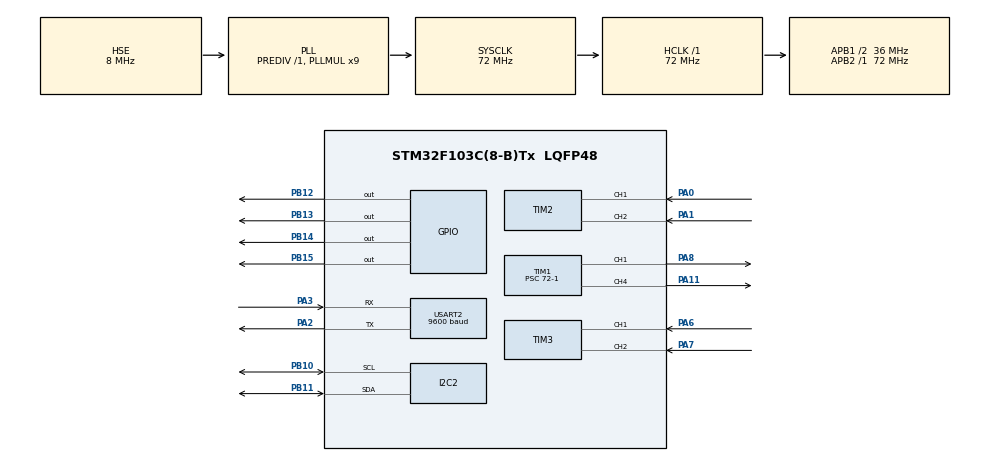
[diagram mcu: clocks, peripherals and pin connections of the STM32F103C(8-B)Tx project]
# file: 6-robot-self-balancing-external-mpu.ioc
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I2C2.I2C_Mode=I2C_Fast
Mcu.Family=STM32F1
Mcu.Name=STM32F103C(8-B)Tx
Mcu.Package=LQFP48
NVIC.PriorityGroup=NVIC_PRIORITYGROUP_4
NVIC.TIM1_UP_IRQn=true\:0\:0\:false\:false\:true\:true\:true\:true
NVIC.TIM4_IRQn=true\:1\:0\:true\:false\:true\:true\:true\:true
NVIC.USART2_IRQn=true\:2\:0\:true\:false\:true\:true\:true\:true
PA0-WKUP.Signal=S_TIM2_CH1_ETR
PA1.Signal=S_TIM2_CH2
PA11.Signal=S_TIM1_CH4
PA2.Mode=Asynchronous
PA2.Signal=USART2_TX
PA3.Mode=Asynchronous
PA3.Signal=USART2_RX
PA6.Signal=S_TIM3_CH1
PA7.Signal=S_TIM3_CH2
PA8.Signal=S_TIM1_CH1
PB10.Mode=I2C
PB10.Signal=I2C2_SCL
PB11.Mode=I2C
PB11.Signal=I2C2_SDA
PB12.GPIO_Speed=GPIO_SPEED_FREQ_HIGH
PB12.Signal=GPIO_Output
PB13.GPIO_Speed=GPIO_SPEED_FREQ_HIGH
PB13.Signal=GPIO_Output
PB14.GPIO_Speed=GPIO_SPEED_FREQ_HIGH
PB14.Signal=GPIO_Output
PB15.GPIO_Speed=GPIO_SPEED_FREQ_HIGH
PB15.Signal=GPIO_Output
PD0-OSC_IN.Mode=HSE-External-Oscillator
PD0-OSC_IN.Signal=RCC_OSC_IN
PD1-OSC_OUT.Mode=HSE-External-Oscillator
PD1-OSC_OUT.Signal=RCC_OSC_OUT
ProjectManager.HeapSize=0x200
ProjectManager.StackSize=0x400
ProjectManager.TargetToolchain=STM32CubeIDE
RCC.AHBFreq_Value=72000000
RCC.APB1CLKDivider=RCC_HCLK_DIV2
RCC.APB1Freq_Value=36000000
RCC.APB1TimFreq_Value=72000000
RCC.APB2Freq_Value=72000000
RCC.APB2TimFreq_Value=72000000
RCC.HCLKFreq_Value=72000000
RCC.PLLMUL=RCC_PLL_MUL9
RCC.PLLSourceVirtual=RCC_PLLSOURCE_HSE
RCC.SYSCLKFreq_VALUE=72000000
RCC.SYSCLKSource=RCC_SYSCLKSOURCE_PLLCLK
RCC.USBFreq_Value=72000000
SH.S_TIM1_CH1.0=TIM1_CH1,PWM Generation1 CH1
SH.S_TIM1_CH4.0=TIM1_CH4,PWM Generation4 CH4
SH.S_TIM2_CH1_ETR.0=TIM2_CH1,Encoder_Interface
SH.S_TIM2_CH2.0=TIM2_CH2,Encoder_Interface
SH.S_TIM3_CH1.0=TIM3_CH1,Encoder_Interface
SH.S_TIM3_CH2.0=TIM3_CH2,Encoder_Interface
TIM1.Channel-PWM\ Generation1\ CH1=TIM_CHANNEL_1
TIM1.Channel-PWM\ Generation4\ CH4=TIM_CHANNEL_4
TIM1.Period=999
TIM1.Prescaler=72-1
TIM2.IC1Filter=4
TIM3.IC1Filter=4
TIM3.IC2Filter=4
TIM4.AutoReloadPreload=TIM_AUTORELOAD_PRELOAD_ENABLE
TIM4.Period=500-1
TIM4.Prescaler=720-1
USART2.BaudRate=9600
USART2.VirtualMode=VM_ASYNC
VP_SYS_VS_ND.Mode=No_Debug
VP_TIM1_VS_ClockSourceINT.Mode=Internal
VP_TIM4_VS_ClockSourceINT.Mode=Internal
board=custom

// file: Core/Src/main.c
/* USER CODE BEGIN Header */
/**
  ******************************************************************************
  * @file           : main.c
  * @brief          : Main program body
  ******************************************************************************
  * @attention
  *
  * Copyright (c) 2026 STMicroelectronics.
  * All rights reserved.
  *
  * This software is licensed under terms that can be found in the LICENSE file
  * in the root directory of this software component.
  * If no LICENSE file comes with this software, it is provided AS-IS.
  *
  ******************************************************************************
  */
/* USER CODE END Header */
#include "main.h"

/* USER CODE BEGIN Includes */
#include "debug.h"
#include "mpu6050.h"
#include "pid.h"
#include "motor.h"
#include "encoder.h"
#include "ring_buffer.h"
#include "bt_command.h"
#include <stdbool.h>
#include <math.h>
#include <stdio.h>
/* USER CODE END Includes */

I2C_HandleTypeDef hi2c2;

TIM_HandleTypeDef htim1;
TIM_HandleTypeDef htim2;
TIM_HandleTypeDef htim3;
TIM_HandleTypeDef htim4;

UART_HandleTypeDef huart2;

/* USER CODE BEGIN PV */
/* ── Shared application state ───────────────────────────────────────── */
static MPU6050_Data_t g_imu          = {0};
static PID_t          g_balance_pid;
static float          g_angle_setpoint = 0.0f;  // tune via BT: "A1.5\n"
static RingBuffer_t   g_bt_rb;
static volatile float g_bt_speed_bias = 0.0f;

/* Last PID output – written by TIM4 ISR, read by main loop for debug */
static volatile float g_pid_output = 0.0f;
/* Single-byte DMA-free UART RX buffer (re-armed in callback) */
static uint8_t s_uart_rx_byte;

/* USER CODE END PV */

void SystemClock_Config(void);
static void MX_GPIO_Init(void);
static void MX_TIM1_Init(void);
static void MX_TIM4_Init(void);
static void MX_USART2_UART_Init(void);
static void MX_TIM2_Init(void);
static void MX_TIM3_Init(void);
static void MX_I2C2_Init(void);
/* USER CODE BEGIN PFP */
static void apply_bt_command(const BT_Command_t *cmd);
/* USER CODE END PFP */

int main(void)
{

  /* MCU Configuration--------------------------------------------------------*/

  /* Reset of all peripherals, Initializes the Flash interface and the Systick. */
  HAL_Init();

  /* Configure the system clock */
  SystemClock_Config();

  /* Initialize all configured peripherals */
  MX_GPIO_Init();
  MX_TIM1_Init();
  MX_TIM4_Init();
  MX_USART2_UART_Init();
  MX_TIM2_Init();
  MX_TIM3_Init();
  MX_I2C2_Init();
  /* USER CODE BEGIN 2 */
  rb_init(&g_bt_rb);

  Debug_Init(&huart2);

   /* Wait until MPU6050 responds on I2C */
   while (!MPU6050_Init(&hi2c2)) {
       HAL_Delay(100);
   }
   Debug_Print("MPU6050 OK\r\n");

   /* Calibrate — robot must be held STILL and UPRIGHT for ~1 second.
      This zeroes the gyro bias and angle offset so that true upright
      reads as exactly 0.0 degrees, regardless of MPU mounting angle.
      After this, A setpoint of 0.0 means perfectly balanced.         */
//   Debug_Print("Calibrating — hold robot upright and still...\r\n");
//   MPU6050_Calibrate(&hi2c2, &g_imu);
//   Debug_Print("Calibration done. Starting balance loop.\r\n");

   /* Balance PID – start conservative, tune via Bluetooth*/
      PID_Init(&g_balance_pid,
            /*Kp=*/40.0f,
            /*Ki=*/0.0f,
            /*Kd=*/6.0f,
            /*integral_limit=*/200.0f,
            /*output_limit=*/(float)MOTOR_PWM_MAX);

   Encoder_Start();   // starts TIM2 + TIM3 in encoder mode

   /* Start PWM outputs on TIM1 CH1 (PA8) and CH4 (PA11) */
   HAL_TIM_PWM_Start(&htim1, MOTOR_B_PWM_CH);   // CH1 → PA8  = PWMB
   HAL_TIM_PWM_Start(&htim1, MOTOR_A_PWM_CH);   // CH4 → PA11 = PWMA
   Motor_Stop();

   /* Arm USART2 RX interrupt */
   HAL_UART_Receive_IT(&huart2, &s_uart_rx_byte, 1);

   /* Start 200 Hz control-loop timer (TIM4) */
   HAL_TIM_Base_Start_IT(&htim4);
  /* USER CODE END 2 */

  /* Infinite loop */
  while (1)
  {

    /* USER CODE BEGIN 3 */
	  	  	  /* 1. Parse any complete BT command from ring buffer */
	          BT_Command_t cmd;
	          if (BT_Parse(&g_bt_rb, &cmd)) {
	              apply_bt_command(&cmd);
	          }

	          /* 2. Fall / over-tilt detection: stop motors to protect hardware */
	          if (fabsf(g_imu.angle) > 45.0f) {
	              Motor_Stop();
	              PID_Reset(&g_balance_pid);
	              Debug_Print("FALL DETECTED...");
	          }

	          /* 3. Optional telemetry – uncomment to stream angle over BT
	          static uint32_t last_tx = 0;
	          if (HAL_GetTick() - last_tx >= 100) {
	              last_tx = HAL_GetTick();
	              char buf[48];
	              int n = snprintf(buf, sizeof(buf), "A:%.2f L:%ld R:%ld\r\n",
	                               g_imu.angle, enc_left.count, enc_right.count);
	              HAL_UART_Transmit(&huart2, (uint8_t *)buf, n, 10);
	          }
	          */

	          /* 3. Stream debug data over Bluetooth every DEBUG_INTERVAL_MS */
	                  Debug_Update(g_imu.angle,
	                               g_imu.gyro_rate,
	                               g_imu.accel_angle,
	                               g_pid_output,
	                               enc_left.delta,
	                               enc_right.delta,
	                               g_angle_setpoint,
	                               g_balance_pid.Kp,
	                               g_balance_pid.Ki,
	                               g_balance_pid.Kd);
	/* 4. Sleep until next interrupt */
	__WFI();
  }
  /* USER CODE END 3 */
}

void SystemClock_Config(void)
{
  RCC_OscInitTypeDef RCC_OscInitStruct = {0};
  RCC_ClkInitTypeDef RCC_ClkInitStruct = {0};

  /** Initializes the RCC Oscillators according to the specified parameters
  * in the RCC_OscInitTypeDef structure.
  */
  RCC_OscInitStruct.OscillatorType = RCC_OSCILLATORTYPE_HSE;
  RCC_OscInitStruct.HSEState = RCC_HSE_ON;
  RCC_OscInitStruct.HSEPredivValue = RCC_HSE_PREDIV_DIV1;
  RCC_OscInitStruct.HSIState = RCC_HSI_ON;
  RCC_OscInitStruct.PLL.PLLState = RCC_PLL_ON;
  RCC_OscInitStruct.PLL.PLLSource = RCC_PLLSOURCE_HSE;
  RCC_OscInitStruct.PLL.PLLMUL = RCC_PLL_MUL9;
  if (HAL_RCC_OscConfig(&RCC_OscInitStruct) != HAL_OK)
  {
    Error_Handler();
  }

  /** Initializes the CPU, AHB and APB buses clocks
  */
  RCC_ClkInitStruct.ClockType = RCC_CLOCKTYPE_HCLK|RCC_CLOCKTYPE_SYSCLK
                              |RCC_CLOCKTYPE_PCLK1|RCC_CLOCKTYPE_PCLK2;
  RCC_ClkInitStruct.SYSCLKSource = RCC_SYSCLKSOURCE_PLLCLK;
  RCC_ClkInitStruct.AHBCLKDivider = RCC_SYSCLK_DIV1;
  RCC_ClkInitStruct.APB1CLKDivider = RCC_HCLK_DIV2;
  RCC_ClkInitStruct.APB2CLKDivider = RCC_HCLK_DIV1;

  if (HAL_RCC_ClockConfig(&RCC_ClkInitStruct, FLASH_LATENCY_2) != HAL_OK)
  {
    Error_Handler();
  }
}

static void MX_I2C2_Init(void)
{

  hi2c2.Instance = I2C2;
  hi2c2.Init.ClockSpeed = 400000;
  hi2c2.Init.DutyCycle = I2C_DUTYCYCLE_2;
  hi2c2.Init.OwnAddress1 = 0;
  hi2c2.Init.AddressingMode = I2C_ADDRESSINGMODE_7BIT;
  hi2c2.Init.DualAddressMode = I2C_DUALADDRESS_DISABLE;
  hi2c2.Init.OwnAddress2 = 0;
  hi2c2.Init.GeneralCallMode = I2C_GENERALCALL_DISABLE;
  hi2c2.Init.NoStretchMode = I2C_NOSTRETCH_DISABLE;
  if (HAL_I2C_Init(&hi2c2) != HAL_OK)
  {
    Error_Handler();
  }

}

static void MX_TIM1_Init(void)
{

  TIM_ClockConfigTypeDef sClockSourceConfig = {0};
  TIM_MasterConfigTypeDef sMasterConfig = {0};
  TIM_OC_InitTypeDef sConfigOC = {0};
  TIM_BreakDeadTimeConfigTypeDef sBreakDeadTimeConfig = {0};

  htim1.Instance = TIM1;
  htim1.Init.Prescaler = 72-1;
  htim1.Init.CounterMode = TIM_COUNTERMODE_UP;
  htim1.Init.Period = 999;
  htim1.Init.ClockDivision = TIM_CLOCKDIVISION_DIV1;
  htim1.Init.RepetitionCounter = 0;
  htim1.Init.AutoReloadPreload = TIM_AUTORELOAD_PRELOAD_DISABLE;
  if (HAL_TIM_Base_Init(&htim1) != HAL_OK)
  {
    Error_Handler();
  }
  sClockSourceConfig.ClockSource = TIM_CLOCKSOURCE_INTERNAL;
  if (HAL_TIM_ConfigClockSource(&htim1, &sClockSourceConfig) != HAL_OK)
  {
    Error_Handler();
  }
  if (HAL_TIM_PWM_Init(&htim1) != HAL_OK)
  {
    Error_Handler();
  }
  sMasterConfig.MasterOutputTrigger = TIM_TRGO_RESET;
  sMasterConfig.MasterSlaveMode = TIM_MASTERSLAVEMODE_DISABLE;
  if (HAL_TIMEx_MasterConfigSynchronization(&htim1, &sMasterConfig) != HAL_OK)
  {
    Error_Handler();
  }
  sConfigOC.OCMode = TIM_OCMODE_PWM1;
  sConfigOC.Pulse = 0;
  sConfigOC.OCPolarity = TIM_OCPOLARITY_HIGH;
  sConfigOC.OCNPolarity = TIM_OCNPOLARITY_HIGH;
  sConfigOC.OCFastMode = TIM_OCFAST_DISABLE;
  sConfigOC.OCIdleState = TIM_OCIDLESTATE_RESET;
  sConfigOC.OCNIdleState = TIM_OCNIDLESTATE_RESET;
  if (HAL_TIM_PWM_ConfigChannel(&htim1, &sConfigOC, TIM_CHANNEL_1) != HAL_OK)
  {
    Error_Handler();
  }
  if (HAL_TIM_PWM_ConfigChannel(&htim1, &sConfigOC, TIM_CHANNEL_4) != HAL_OK)
  {
    Error_Handler();
  }
  sBreakDeadTimeConfig.OffStateRunMode = TIM_OSSR_DISABLE;
  sBreakDeadTimeConfig.OffStateIDLEMode = TIM_OSSI_DISABLE;
  sBreakDeadTimeConfig.LockLevel = TIM_LOCKLEVEL_OFF;
  sBreakDeadTimeConfig.DeadTime = 0;
  sBreakDeadTimeConfig.BreakState = TIM_BREAK_DISABLE;
  sBreakDeadTimeConfig.BreakPolarity = TIM_BREAKPOLARITY_HIGH;
  sBreakDeadTimeConfig.AutomaticOutput = TIM_AUTOMATICOUTPUT_DISABLE;
  if (HAL_TIMEx_ConfigBreakDeadTime(&htim1, &sBreakDeadTimeConfig) != HAL_OK)
  {
    Error_Handler();
  }
  /* USER CODE BEGIN TIM1_Init 2 */
  __HAL_TIM_MOE_ENABLE(&htim1);
  /* USER CODE END TIM1_Init 2 */
  HAL_TIM_MspPostInit(&htim1);

}

static void MX_TIM2_Init(void)
{

  TIM_Encoder_InitTypeDef sConfig = {0};
  TIM_MasterConfigTypeDef sMasterConfig = {0};

  htim2.Instance = TIM2;
  htim2.Init.Prescaler = 0;
  htim2.Init.CounterMode = TIM_COUNTERMODE_UP;
  htim2.Init.Period = 65535;
  htim2.Init.ClockDivision = TIM_CLOCKDIVISION_DIV1;
  htim2.Init.AutoReloadPreload = TIM_AUTORELOAD_PRELOAD_DISABLE;
  sConfig.EncoderMode = TIM_ENCODERMODE_TI1;
  sConfig.IC1Polarity = TIM_ICPOLARITY_RISING;
  sConfig.IC1Selection = TIM_ICSELECTION_DIRECTTI;
  sConfig.IC1Prescaler = TIM_ICPSC_DIV1;
  sConfig.IC1Filter = 4;
  sConfig.IC2Polarity = TIM_ICPOLARITY_RISING;
  sConfig.IC2Selection = TIM_ICSELECTION_DIRECTTI;
  sConfig.IC2Prescaler = TIM_ICPSC_DIV1;
  sConfig.IC2Filter = 0;
  if (HAL_TIM_Encoder_Init(&htim2, &sConfig) != HAL_OK)
  {
    Error_Handler();
  }
  sMasterConfig.MasterOutputTrigger = TIM_TRGO_RESET;
  sMasterConfig.MasterSlaveMode = TIM_MASTERSLAVEMODE_DISABLE;
  if (HAL_TIMEx_MasterConfigSynchronization(&htim2, &sMasterConfig) != HAL_OK)
  {
    Error_Handler();
  }

}

static void MX_TIM3_Init(void)
{

  TIM_Encoder_InitTypeDef sConfig = {0};
  TIM_MasterConfigTypeDef sMasterConfig = {0};

  htim3.Instance = TIM3;
  htim3.Init.Prescaler = 0;
  htim3.Init.CounterMode = TIM_COUNTERMODE_UP;
  htim3.Init.Period = 65535;
  htim3.Init.ClockDivision = TIM_CLOCKDIVISION_DIV1;
  htim3.Init.AutoReloadPreload = TIM_AUTORELOAD_PRELOAD_DISABLE;
  sConfig.EncoderMode = TIM_ENCODERMODE_TI1;
  sConfig.IC1Polarity = TIM_ICPOLARITY_RISING;
  sConfig.IC1Selection = TIM_ICSELECTION_DIRECTTI;
  sConfig.IC1Prescaler = TIM_ICPSC_DIV1;
  sConfig.IC1Filter = 4;
  sConfig.IC2Polarity = TIM_ICPOLARITY_RISING;
  sConfig.IC2Selection = TIM_ICSELECTION_DIRECTTI;
  sConfig.IC2Prescaler = TIM_ICPSC_DIV1;
  sConfig.IC2Filter = 4;
  if (HAL_TIM_Encoder_Init(&htim3, &sConfig) != HAL_OK)
  {
    Error_Handler();
  }
  sMasterConfig.MasterOutputTrigger = TIM_TRGO_RESET;
  sMasterConfig.MasterSlaveMode = TIM_MASTERSLAVEMODE_DISABLE;
  if (HAL_TIMEx_MasterConfigSynchronization(&htim3, &sMasterConfig) != HAL_OK)
  {
    Error_Handler();
  }

}

static void MX_TIM4_Init(void)
{

  TIM_ClockConfigTypeDef sClockSourceConfig = {0};
  TIM_MasterConfigTypeDef sMasterConfig = {0};

  htim4.Instance = TIM4;
  htim4.Init.Prescaler = 720-1;
  htim4.Init.CounterMode = TIM_COUNTERMODE_UP;
  htim4.Init.Period = 500-1;
  htim4.Init.ClockDivision = TIM_CLOCKDIVISION_DIV1;
  htim4.Init.AutoReloadPreload = TIM_AUTORELOAD_PRELOAD_ENABLE;
  if (HAL_TIM_Base_Init(&htim4) != HAL_OK)
  {
    Error_Handler();
  }
  sClockSourceConfig.ClockSource = TIM_CLOCKSOURCE_INTERNAL;
  if (HAL_TIM_ConfigClockSource(&htim4, &sClockSourceConfig) != HAL_OK)
  {
    Error_Handler();
  }
  sMasterConfig.MasterOutputTrigger = TIM_TRGO_RESET;
  sMasterConfig.MasterSlaveMode = TIM_MASTERSLAVEMODE_DISABLE;
  if (HAL_TIMEx_MasterConfigSynchronization(&htim4, &sMasterConfig) != HAL_OK)
  {
    Error_Handler();
  }

}

static void MX_USART2_UART_Init(void)
{

  huart2.Instance = USART2;
  huart2.Init.BaudRate = 9600;
  huart2.Init.WordLength = UART_WORDLENGTH_8B;
  huart2.Init.StopBits = UART_STOPBITS_1;
  huart2.Init.Parity = UART_PARITY_NONE;
  huart2.Init.Mode = UART_MODE_TX_RX;
  huart2.Init.HwFlowCtl = UART_HWCONTROL_NONE;
  huart2.Init.OverSampling = UART_OVERSAMPLING_16;
  if (HAL_UART_Init(&huart2) != HAL_OK)
  {
    Error_Handler();
  }

}

static void MX_GPIO_Init(void)
{
  GPIO_InitTypeDef GPIO_InitStruct = {0};

  /* GPIO Ports Clock Enable */
  __HAL_RCC_GPIOD_CLK_ENABLE();
  __HAL_RCC_GPIOA_CLK_ENABLE();
  __HAL_RCC_GPIOB_CLK_ENABLE();

  /*Configure GPIO pin Output Level */
  HAL_GPIO_WritePin(GPIOB, GPIO_PIN_12|GPIO_PIN_13|GPIO_PIN_14|GPIO_PIN_15, GPIO_PIN_RESET);

  /*Configure GPIO pins : PB12 PB13 PB14 PB15 */
  GPIO_InitStruct.Pin = GPIO_PIN_12|GPIO_PIN_13|GPIO_PIN_14|GPIO_PIN_15;
  GPIO_InitStruct.Mode = GPIO_MODE_OUTPUT_PP;
  GPIO_InitStruct.Pull = GPIO_NOPULL;
  GPIO_InitStruct.Speed = GPIO_SPEED_FREQ_HIGH;
  HAL_GPIO_Init(GPIOB, &GPIO_InitStruct);

}

/* USER CODE BEGIN 4 */
/* ═══════════════════════════════════════════════════════════════════════
   TIM4 PERIOD ELAPSED IRQ  –  200 Hz CONTROL LOOP  (every 5 ms)
   ═══════════════════════════════════════════════════════════════════════ */
void HAL_TIM_PeriodElapsedCallback(TIM_HandleTypeDef *htim)
{
    if (htim->Instance != TIM4) return;

    /* Step 1 – Snapshot encoder deltas (hardware counted, we just diff) */
    Encoder_Update();

    /* Step 2 – Read IMU and update complementary filter
                ~300 µs at 400 kHz I2C; well within the 5 ms budget       */
    MPU6050_Update(&hi2c2, &g_imu, CONTROL_LOOP_DT);

    /* Step 3 – Balance PID */
    float pid_out = PID_Compute(&g_balance_pid,
                                g_angle_setpoint,
                                g_imu.angle,
                                CONTROL_LOOP_DT);

    g_pid_output = pid_out;   // expose to main loop for debug

    /* Step 4 – Apply BT speed bias (forward/backward commands) */
    int32_t left_pwm  = (int32_t)(pid_out + g_bt_speed_bias);
    int32_t right_pwm = (int32_t)(pid_out + g_bt_speed_bias);

    /* Step 5 – Drive motors */
    Motor_Set(left_pwm, right_pwm);
}

/* ═══════════════════════════════════════════════════════════════════════
   USART2 RX COMPLETE IRQ  –  JDY-23 Bluetooth
   One byte at a time → ring buffer → parsed in main loop
   ═══════════════════════════════════════════════════════════════════════ */
void HAL_UART_RxCpltCallback(UART_HandleTypeDef *huart)
{
    if (huart->Instance != USART2) return;
    rb_push(&g_bt_rb, s_uart_rx_byte);
    HAL_UART_Receive_IT(&huart2, &s_uart_rx_byte, 1);  // re-arm
}

/* ═══════════════════════════════════════════════════════════════════════
   BT COMMAND APPLICATION  (main loop only, never from ISR)
   ═══════════════════════════════════════════════════════════════════════ */
static void apply_bt_command(const BT_Command_t *cmd)
{
    char buf[48];
    switch (cmd->type) {
        case BT_CMD_FORWARD:
            g_bt_speed_bias =  cmd->value;
            snprintf(buf, sizeof(buf), "CMD: Forward %.1f\r\n", cmd->value);
            Debug_Print(buf);
            break;
        case BT_CMD_BACKWARD:
            g_bt_speed_bias = -cmd->value;
            snprintf(buf, sizeof(buf), "CMD: Backward %.1f\r\n", cmd->value);
            Debug_Print(buf);
            break;
        case BT_CMD_STOP:
            g_bt_speed_bias = 0.0f;
            Debug_Print("CMD: Stop\r\n");
            break;
        case BT_CMD_SET_KP:
            g_balance_pid.Kp = cmd->value;
            snprintf(buf, sizeof(buf), "SET Kp=%.3f\r\n", cmd->value);
            Debug_Print(buf);
            break;
        case BT_CMD_SET_KI:
            g_balance_pid.Ki = cmd->value;
            PID_Reset(&g_balance_pid);
            snprintf(buf, sizeof(buf), "SET Ki=%.3f (integral reset)\r\n", cmd->value);
            Debug_Print(buf);
            break;
//        case BT_CMD_SET_DFILTER:
//            /* clamp 0..1 */
//            float alpha = cmd->value;
//            if (alpha < 0.0f) alpha = 0.0f;
//            if (alpha > 1.0f) alpha = 1.0f;
//            g_balance_pid.d_filter_alpha = alpha;
//            snprintf(buf, sizeof(buf), "SET d_filter_alpha=%.3f\r\n", alpha);
//            Debug_Print(buf);
//            break;
        case BT_CMD_SET_KD:
            g_balance_pid.Kd = cmd->value;
            snprintf(buf, sizeof(buf), "SET Kd=%.3f\r\n", cmd->value);
            Debug_Print(buf);
            break;
        case BT_CMD_SET_ANGLE_OFFSET:
            g_angle_setpoint = cmd->value;
            snprintf(buf, sizeof(buf), "SET Setpoint=%.2f\r\n", cmd->value);
            Debug_Print(buf);
            break;
        default:
            Debug_Print("CMD: Unknown\r\n");
            break;
    }
}
/* USER CODE END 4 */

void Error_Handler(void)
{
  __disable_irq();
  while (1)
  {
  }
}
